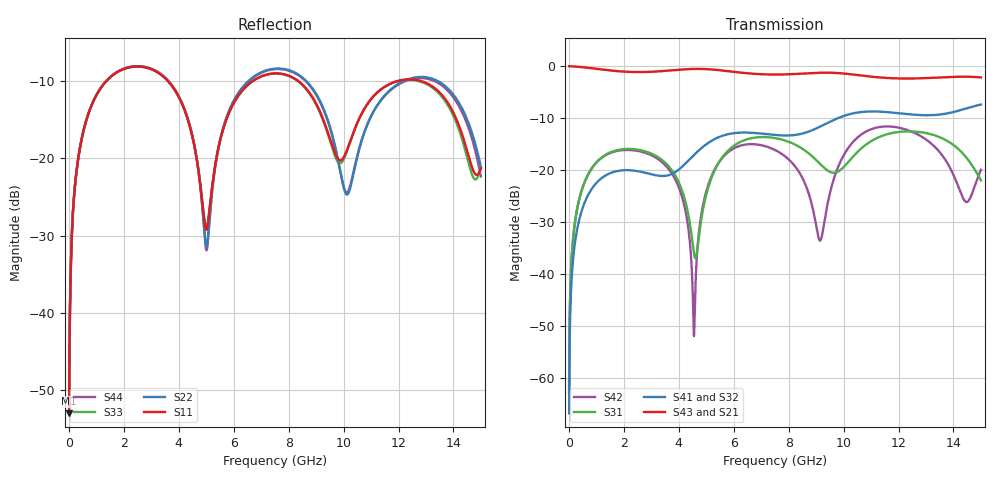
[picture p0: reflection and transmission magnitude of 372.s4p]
! Created with skrf 1.8.0 (http://scikit-rf.org).
# GHz S RI R 50.0
!freq ReS11 ImS11 ReS12 ImS12 ReS13 ImS13
! ReS14 ImS14
! ReS21 ImS21 ReS22 ImS22 ReS23 ImS23
! ReS24 ImS24
! ReS31 ImS31 ReS32 ImS32 ReS33 ImS33
! ReS34 ImS34
! ReS41 ImS41 ReS42 ImS42 ReS43 ImS43
! ReS44 ImS44
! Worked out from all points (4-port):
!   2499 points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, 5 MHz to 15 GHz, reference 50 ohm
!   strongest paths, dB at 5 MHz, 3.476 GHz, 7.19 GHz, 11.1 GHz, 15 GHz:
!     S43: 0.0, -0.9, -1.6, -2.1, -2.2
!     S21: 0.0, -0.9, -1.6, -2.1, -2.2
!     S41: -66.7, -21.1, -13.1, -8.7, -7.4
!     S32: -66.7, -21.1, -13.1, -8.7, -7.4
!     S31: -62.7, -18.4, -13.7, -14.1, -22.0
!     S42: -62.7, -18.9, -15.5, -12.0, -19.9
!   lowest |S11| = -53.0 dB at 5 MHz (marker M1), VSWR 1.00, Z = 50.2 + j0.136 ohm
!   |S11| at or under -10 dB: 3.597 GHz to 6.701 GHz (3.104 GHz wide, 60.3 % of centre); 8.342 GHz to 11.99 GHz (3.644 GHz wide, 35.8 % of centre); 12.8 GHz to end of sweep (the widest 3 of 4)
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0.005  0.00179 0.00136  0.9982 -0.00349  9.1e-05 0.000723  -8.82e-05 -0.000452
       0.9982 -0.00349  0.00179 0.00136  -8.82e-05 -0.000452  9.08e-05 0.000723
       9.1e-05 0.000723  -8.82e-05 -0.000452  0.00179 0.00136  0.9982 -0.00349
       -8.82e-05 -0.000452  9.08e-05 0.000723  0.9982 -0.00349  0.00179 0.00136
0.3626511  0.0351 0.1008  0.9514 -0.2483  0.0175 0.048  -0.0142 -0.0292
           0.9514 -0.2483  0.0352 0.1008  -0.0142 -0.0292  0.0168 0.0482
           0.0175 0.048  -0.0142 -0.0292  0.0351 0.1008  0.9514 -0.2483
           -0.0142 -0.0292  0.0168 0.0482  0.9514 -0.2483  0.0352 0.1008
1.875782  0.3489 0.1207  0.3328 -0.8249  0.1566 0.0206  -0.0946 0.0298
          0.3328 -0.8249  0.3515 0.1175  -0.0946 0.0297  0.1511 0.0341
          0.1566 0.0206  -0.0946 0.0297  0.3489 0.1207  0.3328 -0.8248
          -0.0946 0.0298  0.1511 0.0341  0.3328 -0.8248  0.3515 0.1175
4.545909  0.0649 -0.1069  -0.8737 -0.3438  -0.0136 -0.00915  -0.0465 0.1314
          -0.8737 -0.3438  0.0575 -0.1121  -0.0468 0.1313  -0.00227 -0.00138
          -0.0136 -0.00915  -0.0468 0.1313  0.066 -0.1067  -0.8736 -0.344
          -0.0465 0.1314  -0.00227 -0.00138  -0.8736 -0.344  0.0566 -0.1127
5.677366  0.1067 0.1286  -0.8389 0.328  0.1013 0.1005  0.1055 0.1903
          -0.8389 0.328  0.1053 0.1346  0.105 0.1902  0.0814 0.1133
          0.1013 0.1005  0.105 0.1902  0.1082 0.1271  -0.8392 0.3276
          0.1055 0.1903  0.0814 0.1133  -0.8392 0.3276  0.1029 0.1346
10.08545  0.1038 0.0328  0.8388 0.0983  -0.05 0.1014  0.0286 -0.3361
          0.8388 0.0983  0.0566 -0.0165  0.0314 -0.336  0.0583 0.1395
          -0.05 0.1014  0.0314 -0.336  0.1004 0.0349  0.839 0.0981
          0.0286 -0.3361  0.0583 0.1395  0.839 0.0981  0.0586 -0.0142
15  0.0803 0.03  -0.7416 -0.2346  -0.079 -0.0114  -0.1162 0.4109
    -0.7416 -0.2346  0.057 -0.0669  -0.1204 0.4084  0.0762 0.0657
    -0.079 -0.0114  -0.1204 0.4084  0.0762 0.0416  -0.7428 -0.232
    -0.1162 0.4109  0.0762 0.0657  -0.7428 -0.232  0.0528 -0.0549
